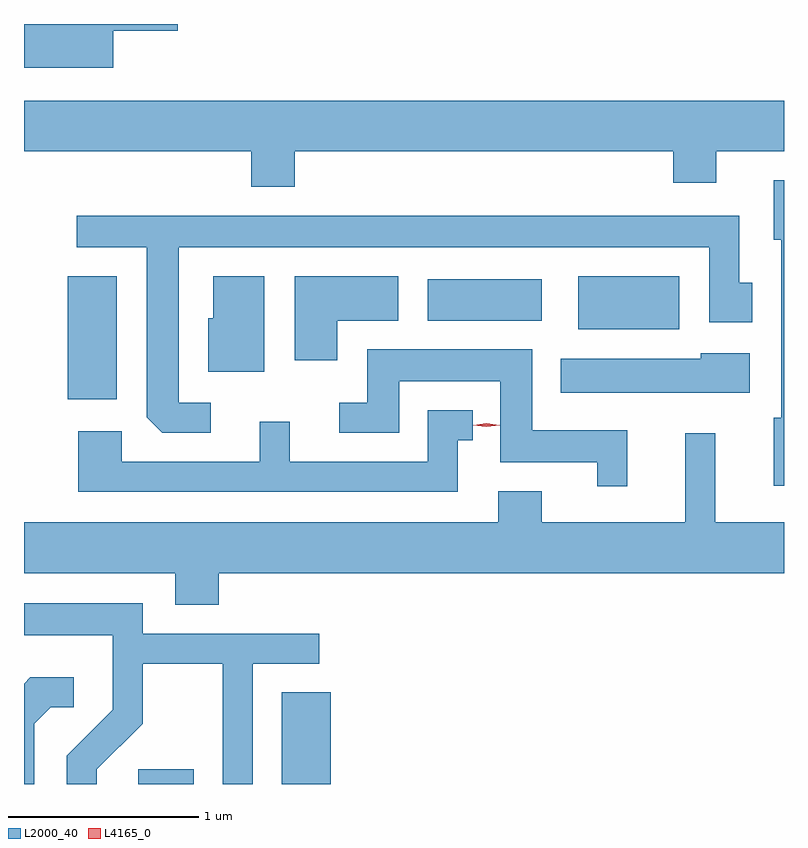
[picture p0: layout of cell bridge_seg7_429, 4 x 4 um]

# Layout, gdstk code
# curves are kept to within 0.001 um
import gdstk
lib = gdstk.Library(unit=1e-6, precision=1e-09)
def R(c, l, rs):  # rectangles x0, y0, x1, y1
    for r in rs: c.add(gdstk.rectangle(r[:2], r[2:], *l))
def P(c, l, *ps):  # polygons
    for p in ps: c.add(gdstk.Polygon(p, *l))
L2000_40 = (2000, 40)
L4165_0 = (4165, 0)

bridge_seg7_429 = lib.new_cell('bridge_seg7_429')
R(bridge_seg7_429, L2000_40, [(1184.296,1708.767,1184.589,1708.844), (1185.051,1708.767,1185.309,1709.249), (1183.926,1710.791,1184.184,1711.439), (1186.611,1711.161,1187.144,1711.439), (1185.821,1711.206,1186.419,1711.424)])
P(bridge_seg7_429, L2000_40, [(1184.164,1712.731),(1184.504,1712.731),(1184.504,1712.767),(1183.695,1712.767),(1183.695,1712.536),(1184.164,1712.536)],
  [(1185.119,1712.096),(1187.111,1712.096),(1187.111,1711.931),(1187.339,1711.931),(1187.339,1712.096),(1187.695,1712.096),(1187.695,1712.364),(1183.695,1712.364),(1183.695,1712.096),(1184.891,1712.096),(1184.891,1711.911),(1185.119,1711.911)],
  [(1187.695,1711.944),(1187.641,1711.944),(1187.641,1711.631),(1187.681,1711.631),(1187.681,1710.694),(1187.641,1710.694),(1187.641,1710.336),(1187.695,1710.336)],
  [(1184.678,1710.774),(1184.509,1710.774),(1184.509,1711.591),(1187.301,1711.591),(1187.301,1711.196),(1187.529,1711.196),(1187.529,1711.404),(1187.459,1711.404),(1187.459,1711.759),(1183.973,1711.759),(1183.973,1711.591),(1184.341,1711.591),(1184.341,1710.697),(1184.422,1710.616),(1184.678,1710.616)],
  [(1185.344,1711.206),(1185.664,1711.206),(1185.664,1711.439),(1185.121,1711.439),(1185.121,1710.996),(1185.344,1710.996)],
  [(1184.959,1711.439),(1184.691,1711.439),(1184.691,1711.219),(1184.666,1711.219),(1184.666,1710.936),(1184.959,1710.936)],
  [(1186.869,1710.629),(1186.369,1710.629),(1186.369,1711.054),(1185.501,1711.054),(1185.501,1710.774),(1185.353,1710.774),(1185.353,1710.616),(1185.669,1710.616),(1185.669,1710.886),(1186.201,1710.886),(1186.201,1710.461),(1186.711,1710.461),(1186.711,1710.333),(1186.869,1710.333)],
  [(1187.514,1711.034),(1187.256,1711.034),(1187.256,1711.004),(1186.521,1711.004),(1186.521,1710.826),(1187.514,1710.826)],
  [(1185.979,1710.576),(1186.058,1710.576),(1186.058,1710.734),(1185.821,1710.734),(1185.821,1710.464),(1185.094,1710.464),(1185.094,1710.673),(1184.936,1710.673),(1184.936,1710.464),(1184.209,1710.464),(1184.209,1710.624),(1183.981,1710.624),(1183.981,1710.306),(1185.979,1710.306)],
  [(1184.719,1709.876),(1187.695,1709.876),(1187.695,1710.144),(1187.334,1710.144),(1187.334,1710.613),(1187.176,1710.613),(1187.176,1710.144),(1186.419,1710.144),(1186.419,1710.309),(1186.191,1710.309),(1186.191,1710.144),(1183.695,1710.144),(1183.695,1709.876),(1184.491,1709.876),(1184.491,1709.711),(1184.719,1709.711)],
  [(1184.079,1708.844),(1184.319,1709.084),(1184.319,1709.401),(1184.741,1709.401),(1184.741,1708.767),(1184.899,1708.767),(1184.899,1709.401),(1185.248,1709.401),(1185.248,1709.559),(1184.319,1709.559),(1184.319,1709.719),(1183.695,1709.719),(1183.695,1709.551),(1184.161,1709.551),(1184.161,1709.157),(1183.921,1708.917),(1183.921,1708.767),(1184.079,1708.767)],
  [(1183.749,1709.084),(1183.837,1709.171),(1183.958,1709.171),(1183.958,1709.329),(1183.729,1709.329),(1183.695,1709.295),(1183.695,1708.767),(1183.749,1708.767)])
P(bridge_seg7_429, L4165_0, [(1186.128,1710.646),(1186.059,1710.654),(1186.059,1710.655),(1186.059,1710.655),(1186.128,1710.665),(1186.198,1710.656),(1186.198,1710.656),(1186.198,1710.655)])

lib.write_gds('bridge_seg7_429.gds')
